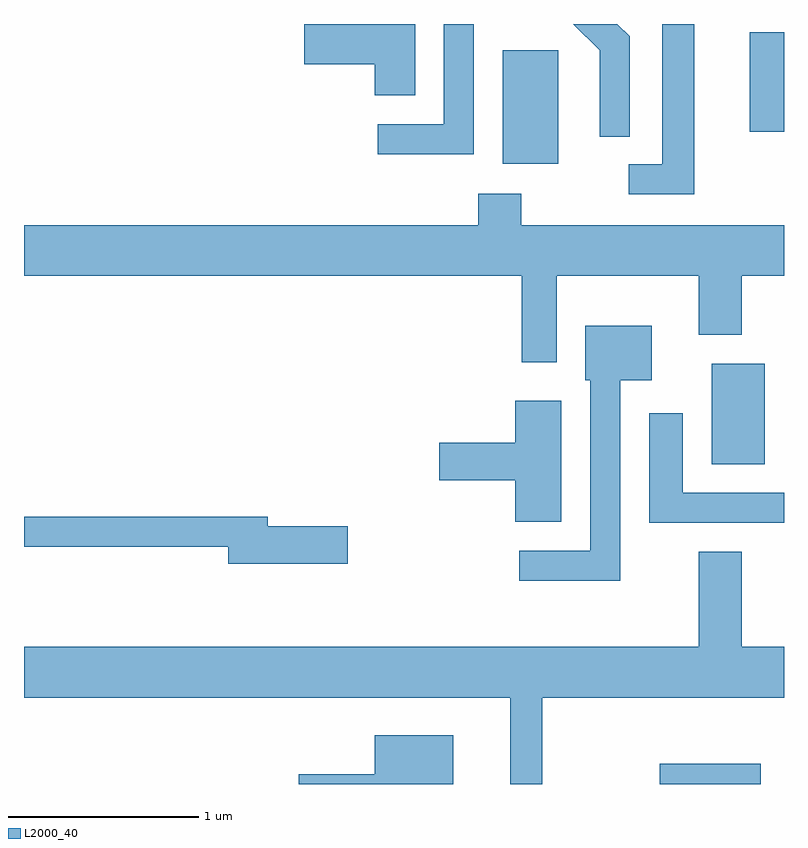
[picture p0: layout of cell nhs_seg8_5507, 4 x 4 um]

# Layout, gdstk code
import gdstk
lib = gdstk.Library(unit=1e-6, precision=1e-09)
def R(c, l, rs):  # rectangles x0, y0, x1, y1
    for r in rs: c.add(gdstk.rectangle(r[:2], r[2:], *l))
def P(c, l, *ps):  # polygons
    for p in ps: c.add(gdstk.Polygon(p, *l))
L2000_40 = (2000, 40)

nhs_seg8_5507 = lib.new_cell('nhs_seg8_5507')
R(nhs_seg8_5507, L2000_40, [(352.958,1900.342,353.489,1900.449), (353.231,1902.026,353.509,1902.554), (352.131,1903.606,352.424,1904.204), (353.431,1903.776,353.611,1904.299)])
P(nhs_seg8_5507, L2000_40, [(353.139,1904.342),(352.971,1904.342),(352.971,1903.604),(352.793,1903.604),(352.793,1903.446),(353.139,1903.446)],
  [(351.979,1904.342),(351.821,1904.342),(351.821,1903.814),(351.473,1903.814),(351.473,1903.656),(351.979,1903.656)],
  [(352.799,1904.277),(352.734,1904.342),(352.503,1904.342),(352.641,1904.204),(352.641,1903.748),(352.799,1903.748)],
  [(351.669,1904.342),(351.086,1904.342),(351.086,1904.131),(351.456,1904.131),(351.456,1903.966),(351.669,1903.966)],
  [(352.414,1903.016),(353.161,1903.016),(353.161,1902.706),(353.389,1902.706),(353.389,1903.016),(353.611,1903.016),(353.611,1903.284),(352.229,1903.284),(352.229,1903.449),(352.001,1903.449),(352.001,1903.284),(349.611,1903.284),(349.611,1903.016),(352.231,1903.016),(352.231,1902.561),(352.414,1902.561)],
  [(352.749,1902.466),(352.914,1902.466),(352.914,1902.754),(352.566,1902.754),(352.566,1902.466),(352.591,1902.466),(352.591,1901.569),(352.218,1901.569),(352.218,1901.411),(352.749,1901.411)],
  [(352.439,1902.359),(352.196,1902.359),(352.196,1902.139),(351.796,1902.139),(351.796,1901.941),(352.196,1901.941),(352.196,1901.721),(352.439,1901.721)],
  [(353.611,1901.874),(353.079,1901.874),(353.079,1902.294),(352.901,1902.294),(352.901,1901.716),(353.611,1901.716)],
  [(351.314,1901.699),(350.894,1901.699),(350.894,1901.749),(349.611,1901.749),(349.611,1901.591),(350.686,1901.591),(350.686,1901.501),(351.314,1901.501)],
  [(352.339,1900.796),(353.611,1900.796),(353.611,1901.064),(353.389,1901.064),(353.389,1901.564),(353.161,1901.564),(353.161,1901.064),(349.611,1901.064),(349.611,1900.796),(352.171,1900.796),(352.171,1900.342),(352.339,1900.342)],
  [(351.869,1900.599),(351.456,1900.599),(351.456,1900.394),(351.056,1900.394),(351.056,1900.342),(351.869,1900.342)])

lib.write_gds('nhs_seg8_5507.gds')
